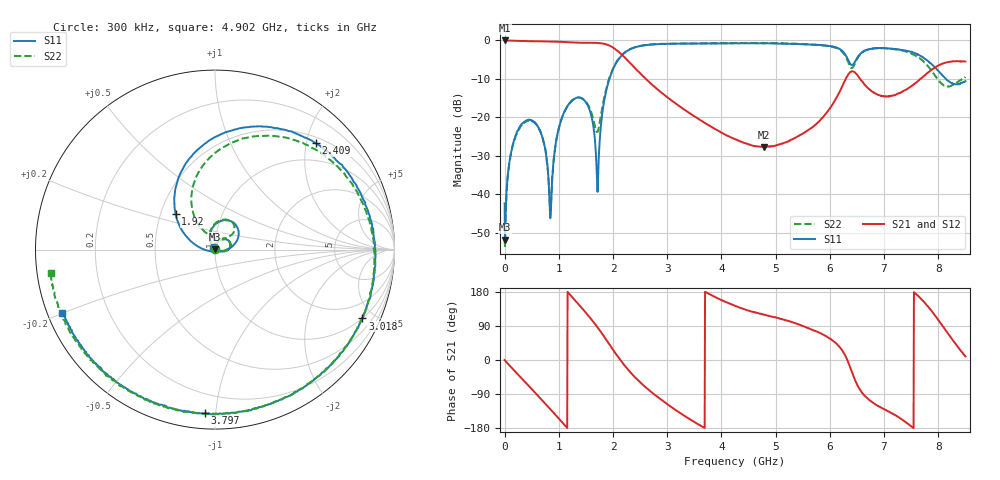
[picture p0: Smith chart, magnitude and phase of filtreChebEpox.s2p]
# Hz S RI R 50
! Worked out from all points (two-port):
!   1201 points, 300 kHz to 8.5 GHz, reference 50 ohm
!   highest |S21| = 0.01 dB at 7.383 MHz (marker M1); lowest = -27.7 dB at 4.781 GHz (marker M2)
!   |S21| within 3 dB of the highest: start of sweep to 2.108 GHz
!   lowest |S11| = -51.7 dB at 7.383 MHz (marker M3), VSWR 1.01, Z = 50 + j0.258 ohm
!   |S11| at or under -10 dB: start of sweep to 1.933 GHz; 8.138 GHz to end of sweep
!   |S22| runs from -53.5 to -0.6 dB; largest |S21 - S12| = 0.0088
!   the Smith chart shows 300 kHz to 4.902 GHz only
!   S11 on the Smith chart (normalised r, x): 300 kHz: 0.99, +0.01; 1.92 GHz: 0.60, +0.26; 2.409 GHz: 0.61, +2.18; 3.018 GHz: 1.00, -4.28; 3.797 GHz: 0.08, -0.94; 4.902 GHz: 0.04, -0.20
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300000  -0.00418 0.00638  0.9989 -0.00166  0.9967 -0.0059  -0.000477 0.00254
7383083  -0.000103 0.00258  1.001 -0.0194  1.002 -0.0202  0.000462 0.00207
8.5297e7  0.00332 0.025  0.9698 -0.2343  0.969 -0.2313  0.00434 0.0239
2.127925e8  0.0277 0.0537  0.8301 -0.5411  0.8309 -0.542  0.0285 0.0514
6.519437e8  0.0687 -0.00442  -0.1673 -0.9606  -0.1678 -0.9586  0.0669 -0.00312
8.431869e8  0.00359 0.00333  -0.6208 -0.7458  -0.6194 -0.7483  0.00445 0.00418
1.048596e9  -0.0261 0.0912  -0.915 -0.2927  -0.9136 -0.2923  -0.0282 0.09
1.416917e9  0.1194 0.1317  -0.7007 0.6199  -0.7003 0.6202  0.0992 0.1491
1.714406e9  -0.000397 -0.0108  0.0641 0.9272  0.0621 0.9272  0.0068 0.0648
1.919816e9  -0.2194 0.1967  0.6219 0.6053  0.6217 0.604  -0.132 0.2762
2.408548e9  0.5617 0.5934  0.3028 -0.3133  0.3025 -0.3133  0.6617 0.4816
2.840616e9  0.8885 -0.1027  -0.0374 -0.2224  -0.0369 -0.2226  0.8636 -0.2552
3.017694e9  0.8208 -0.3838  -0.085 -0.1582  -0.0848 -0.1584  0.7409 -0.5253
3.796833e9  -0.0568 -0.9123  -0.0759 0.0101  -0.0759 0.00975  -0.2786 -0.8752
4.25015e9  -0.5185 -0.759  -0.0416 0.0313  -0.0415 0.0314  -0.7033 -0.6033
4.781381e9  -0.8118 -0.4276  -0.0206 0.0358  -0.0204 0.0361  -0.901 -0.2102
4.901794e9  -0.852 -0.3506  -0.0183 0.0381  -0.018 0.0381  -0.9157 -0.133
5.666767e9  -0.882 0.0949  0.013 0.0726  0.0121 0.0727  -0.8425 0.2713
6.396324e9  -0.4364 0.2026  0.3502 -0.1841  0.354 -0.1857  -0.3666 0.2484
7.090466e9  -0.6421 0.4629  -0.1373 -0.1311  -0.1358 -0.1299  -0.5514 0.5642
7.897938e9  0.0936 0.4691  -0.2458 0.3492  -0.2471 0.3487  0.3005 0.2429
8.5e9  0.2312 -0.1843  0.5257 0.0884  0.5294 0.091  -0.0538 -0.3319
